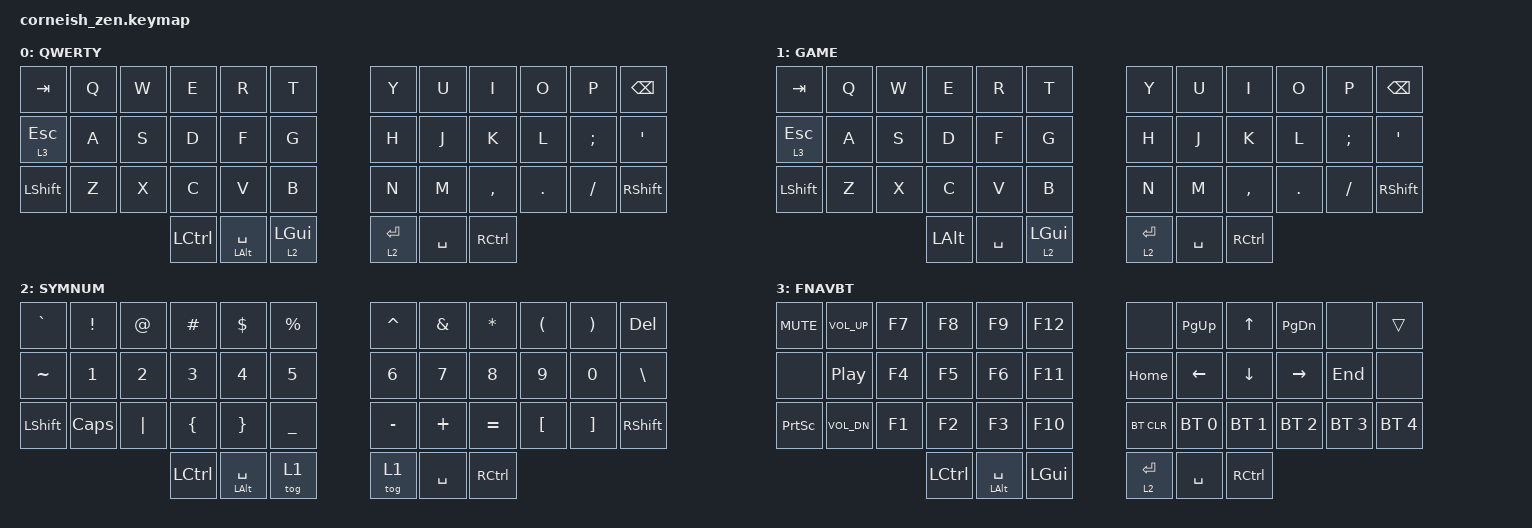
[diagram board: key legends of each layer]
#include <behaviors.dtsi>
#include <dt-bindings/zmk/keys.h>
#include <dt-bindings/zmk/bt.h>

/ {
  chosen {
    zmk,matrix_transform = &default_transform;
    //zmk,matrix_transform = &five_column_transform;
  };
};

&mt {
    tapping-term-ms = <300>;
};
&lt {
    tapping-term-ms = <300>;
};

/ {
        keymap {
                compatible = "zmk,keymap";

                default_layer {
                        label = "QWERTY";
// -----------------------------------------------------------------------------------------
// |  TAB |  Q  |  W  |  E  |  R  |  T  |   |  Y  |  U   |  I  |  O  |  P  | BKSP |
// | ESC L|  A  |  S  |  D  |  F  |  G  |   |  H  |  J   |  K  |  L  |  ;  |  '   |
// | SHFT |  Z  |  X  |  C  |  V  |  B  |   |  N  |  M   |  ,  |  .  |  /  | SHFT |
//           | CTRL | SPC ALT | GUI LWR |   | ENT RSE | SPC | CTRL |
                        bindings = <
   &kp TAB   &kp Q &kp W &kp E &kp R &kp T   &kp Y &kp U  &kp I     &kp O   &kp P    &kp BSPC
   &lt 3 ESC &kp A &kp S &kp D &kp F &kp G   &kp H &kp J  &kp K     &kp L   &kp SEMI &kp SQT
   &kp LSHFT &kp Z &kp X &kp C &kp V &kp B   &kp N &kp M  &kp COMMA &kp DOT &kp FSLH &kp RSHFT
       &kp LCTRL &mt LALT SPACE &lt 2 LGUI   &lt 2 RET &kp SPACE &kp RCTRL
                        >;
                };
                game_layer {
                        label = "GAME";
// -----------------------------------------------------------------------------------------
// |  TAB |  Q  |  W  |  E  |  R  |  T  |   |  Y  |  U   |  I  |  O  |  P  | BKSP |
// | ESC L|  A  |  S  |  D  |  F  |  G  |   |  H  |  J   |  K  |  L  |  ;  |  '   |
// | SHFT |  Z  |  X  |  C  |  V  |  B  |   |  N  |  M   |  ,  |  .  |  /  | SHFT |
//                | ALT | SPC | GUI LWR |   | ENT RSE | SPC | CTRL |
                        bindings = <
   &kp TAB   &kp Q &kp W &kp E &kp R &kp T   &kp Y &kp U  &kp I     &kp O   &kp P    &kp BSPC
   &lt 3 ESC &kp A &kp S &kp D &kp F &kp G   &kp H &kp J  &kp K     &kp L   &kp SEMI &kp SQT
   &kp LSHFT &kp Z &kp X &kp C &kp V &kp B   &kp N &kp M  &kp COMMA &kp DOT &kp FSLH &kp RSHFT
             &kp LALT &kp SPACE &lt 2 LGUI   &lt 2 RET &kp SPACE &kp RCTRL
                        >;
                };
                lower_layer {
                        label = "SYMNUM";
// -----------------------------------------------------------------------------------------
// |   `  |  !  |  @  |  #  |  $  |  %  |   |  ^  |  &  |  *  |  (  |  )  | DEL  |
// |   ~  |  1  |  2  |  3  |  4  |  5  |   |  6  |  7  |  8  |  9  |  0  |   \  |
// | SHFT | CAPS| "|" |  {  |  }  |  _  |   |  -  |  +  |  =  |  [  |  ]  | SHFT |
//              | CTRL | SPC ALT | GAME |   | GAME | SPC | CTRL |
                        bindings = <
   &kp GRAVE &kp EXCL &kp AT   &kp HASH &kp DLLR &kp PRCNT   &kp CARET &kp AMPS  &kp STAR  &kp LPAR &kp RPAR &kp DEL
   &kp TILDE &kp N1   &kp N2   &kp N3   &kp N4   &kp N5      &kp N6    &kp N7    &kp N8    &kp N9   &kp N0   &kp BSLH
   &kp LSHFT &kp CAPS &kp PIPE &kp LBRC &kp RBRC &kp UNDER   &kp MINUS &kp PLUS  &kp EQUAL &kp LBKT &kp RBKT &kp RSHFT
                           &kp LCTRL &mt LALT SPACE &tog 1   &tog 1 &kp SPACE &kp RCTRL
                        >;
                };
                raise_layer {
                        label = "FNAVBT";
// -----------------------------------------------------------------------------------------
// | MUTE | VOL+ |  F7  |  F8  |  F9  | F12 |   |      | PGUP |  UP  | PGDN |      |     |
// |      |  PP  |  F4  |  F5  |  F6  | F11 |   | HOME | LEFT | DOWN | RIGHT| END  |     |
// | PSCRN| VOL- |  F1  |  F2  |  F3  | F10 |   | BTCLR| BT1  | BT2  | BT3  | BT4  | BT5 |
//                   | CTRL | SPC ALT | GUI |   | ENT RSE | SPC | CTRL |
                        bindings = <
   &kp C_MUTE &kp C_VOL_UP &kp F7 &kp F8 &kp F9 &kp F12   &none      &kp PG_UP    &kp UP       &kp PG_DN    &none        &trans
   &none      &kp C_PP     &kp F4 &kp F5 &kp F6 &kp F11   &kp HOME   &kp LEFT     &kp DOWN     &kp RIGHT    &kp END      &none
   &kp PSCRN  &kp C_VOL_DN &kp F1 &kp F2 &kp F3 &kp F10   &bt BT_CLR &bt BT_SEL 0 &bt BT_SEL 1 &bt BT_SEL 2 &bt BT_SEL 3 &bt BT_SEL 4
                      &kp LCTRL &mt LALT SPACE &kp LGUI   &lt 2 RET &kp SPACE &kp RCTRL
                        >;
                };
        };
};




/*

/ {
        keymap {
                compatible = "zmk,keymap";

                default_layer {
                        label = "QWERTY";
// -----------------------------------------------------------------------------------------
// |  TAB |  Q  |  W  |  E  |  R  |  T  |   |  Y  |  U   |  I  |  O  |  P  | BKSP |
// | ESC  |  A  |  S  |  D  |  F  |  G  |   |  H  |  J   |  K  |  L  |  ;  |  '   |
// | SHFT |  Z  |  X  |  C  |  V  |  B  |   |  N  |  M   |  ,  |  .  |  /  | SHFT |
//           | CTRL | SPC ALT | GUI LWR |   | ENT RSE | SPC | CTRL |
                        bindings = <
   &kp TAB   &kp Q &kp W &kp E &kp R &kp T   &kp Y &kp U  &kp I     &kp O   &kp P    &kp BSPC
   &kp ESC   &kp A &kp S &kp D &kp F &kp G   &kp H &kp J  &kp K     &kp L   &kp SEMI &kp SQT
   &kp LSHFT &kp Z &kp X &kp C &kp V &kp B   &kp N &kp M  &kp COMMA &kp DOT &kp FSLH &kp RSHFT
       &kp LCTRL &mt LALT SPACE &lt 1 LGUI   &lt 2 RET &kp SPACE &kp RCTRL
                        >;
                };
                lower_layer {
                        label = "NUMBER";
// -----------------------------------------------------------------------------------------
// |  TAB |  1  |  2  |  3  |  4  |  5  |   |  6  |  7  |  8  |  9  |  0  | BKSP |
// | BTCLR| BT1 | BT2 | BT3 | BT4 | BT5 |   | LFT | DWN |  UP | RGT |     |      |
// | SHFT |     |     |     |     |     |   |     |     |     |     |     |      |
//           | CTRL | SPC ALT | GUI LWR |   | ENT RSE | SPC | CTRL |
                        bindings = <
   &kp TAB    &kp N1       &kp N2       &kp N3       &kp N4       &kp N5         &kp N6   &kp N7   &kp N8 &kp N9    &kp N0 &kp BSPC
   &bt BT_CLR &bt BT_SEL 0 &bt BT_SEL 1 &bt BT_SEL 2 &bt BT_SEL 3 &bt BT_SEL 4   &kp LEFT &kp DOWN &kp UP &kp RIGHT &trans &trans
   &kp LSHFT  &trans       &trans       &trans       &trans       &trans         &trans   &trans   &trans &trans    &trans &trans
                          	        &kp LCTRL &mt LALT SPACE &lt 1 LGUI          &lt 2 RET &kp SPACE &kp RCTRL
                        >;
                };

                raise_layer {
                        label = "SYMBOL";
// -----------------------------------------------------------------------------------------
// |  TAB |  !  |  @  |  #  |  $  |  %  |   |  ^  |  &  |  *  |  (  |  )  | BKSP |
// |  ESC |     |     |     |     |     |   |  -  |  =  |  [  |  ]  |  \  |  `   |
// | SHFT |     |     |     |     |     |   |  _  |  +  |  {  |  }  | "|" |  ~   |
//           | CTRL | SPC ALT | GUI LWR |   | ENT RSE | SPC | CTRL |
                        bindings = <
   &kp  TAB  &kp EXCL &kp AT &kp HASH &kp DLLR &kp PRCNT   &kp CARET &kp AMPS  &kp STAR &kp LPAR &kp RPAR &kp BSPC
   &kp ESC   &trans   &trans &trans   &trans   &trans      &kp MINUS &kp EQUAL &kp LBKT &kp RBKT &kp BSLH &kp GRAVE
   &kp LSHFT &trans   &trans &trans   &trans   &trans      &kp UNDER &kp PLUS  &kp LBRC &kp RBRC &kp PIPE &kp TILDE
                   &kp LCTRL &mt LALT SPACE &lt 1 LGUI   &lt 2 RET &kp SPACE &kp RCTRL
                        >;
                };
        };
};

*/
